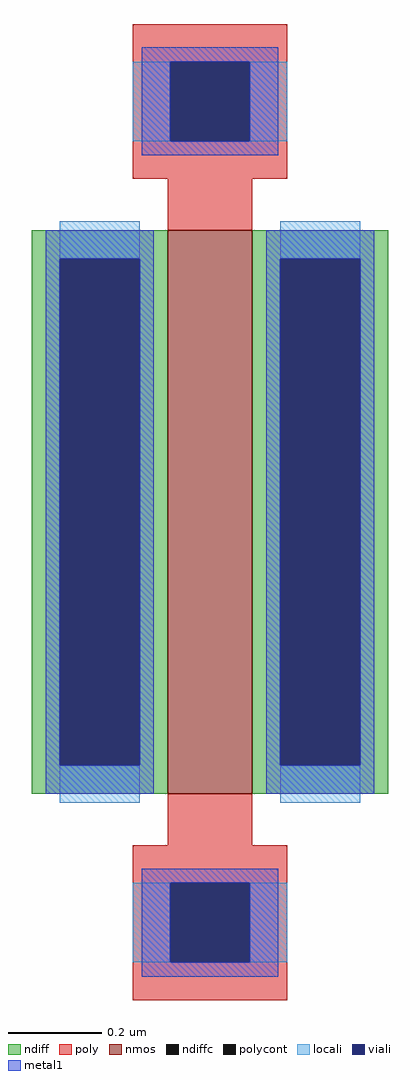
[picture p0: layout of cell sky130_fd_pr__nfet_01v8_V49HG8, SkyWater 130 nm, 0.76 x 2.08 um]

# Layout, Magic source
magic
tech sky130A
magscale 1 2
<< nmos >>
rect -18 -120 18 120
<< ndiff >>
rect -76 108 -18 120
rect -76 -108 -64 108
rect -30 -108 -18 108
rect -76 -120 -18 -108
rect 18 108 76 120
rect 18 -108 30 108
rect 64 -108 76 108
rect 18 -120 76 -108
<< ndiffc >>
rect -64 -108 -30 108
rect 30 -108 64 108
<< poly >>
rect -33 192 33 208
rect -33 158 -17 192
rect 17 158 33 192
rect -33 142 33 158
rect -18 120 18 142
rect -18 -142 18 -120
rect -33 -158 33 -142
rect -33 -192 -17 -158
rect 17 -192 33 -158
rect -33 -208 33 -192
<< polycont >>
rect -17 158 17 192
rect -17 -192 17 -158
<< locali >>
rect -33 158 -17 192
rect 17 158 33 192
rect -64 108 -30 124
rect -64 -124 -30 -108
rect 30 108 64 124
rect 30 -124 64 -108
rect -33 -192 -17 -158
rect 17 -192 33 -158
<< viali >>
rect -17 158 17 192
rect -64 -108 -30 108
rect 30 -108 64 108
rect -17 -192 17 -158
<< metal1 >>
rect -29 192 29 198
rect -29 158 -17 192
rect 17 158 29 192
rect -29 152 29 158
rect -70 108 -24 120
rect -70 -108 -64 108
rect -30 -108 -24 108
rect -70 -120 -24 -108
rect 24 108 70 120
rect 24 -108 30 108
rect 64 -108 70 108
rect 24 -120 70 -108
rect -29 -158 29 -152
rect -29 -192 -17 -158
rect 17 -192 29 -158
rect -29 -198 29 -192
<< properties >>
string gencell sky130_fd_pr__nfet_01v8
string library sky130
string parameters w 1.2 l 0.18 m 1 nf 1 diffcov 100 polycov 100 guard 0 glc 1 grc 1 gtc 1 gbc 1 tbcov 100 rlcov 100 topc 1 botc 1 poverlap 0 doverlap 1 lmin 0.15 wmin 0.42 compatible {sky130_fd_pr__nfet_01v8 sky130_fd_pr__nfet_01v8_lvt  sky130_fd_bs_flash__special_sonosfet_star  sky130_fd_pr__nfet_g5v0d10v5 sky130_fd_pr__nfet_05v0_nvt  sky130_fd_pr__nfet_03v3_nvt} full_metal 1 viasrc 100 viadrn 100 viagate 100 viagb 0 viagr 0 viagl 0 viagt 0
<< end >>
